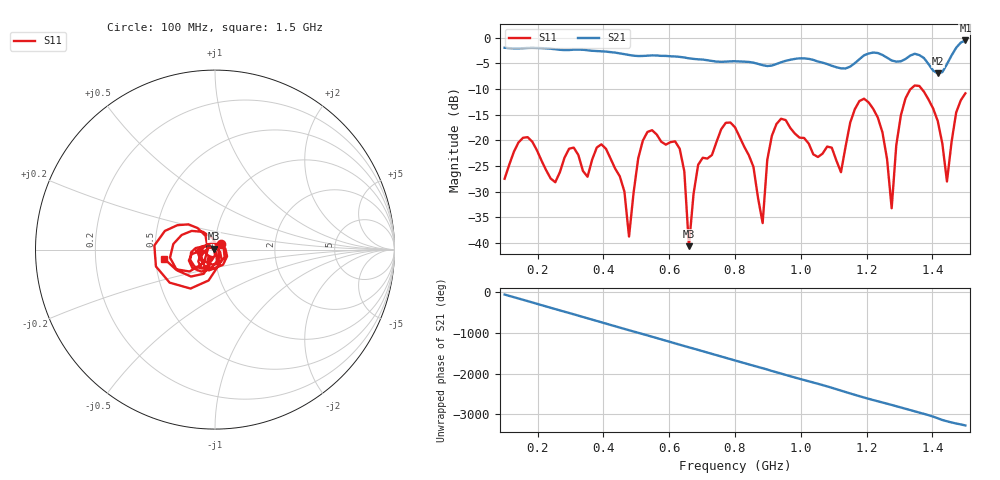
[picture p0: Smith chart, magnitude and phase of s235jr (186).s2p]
! NanoVNA-App
! Date: 2025-09-25 15:05:37
! Start: 100MHz Stop: 1,5GHz Points: 101
! S-Parameter data: F S11 S21 S12 S22
# Hz S RI R 50
!  Frequency  S11_Real  S11_Imag  S21_Real  S21_Imag  S12_Real  S12_Imag  S22_Real  S22_Imag
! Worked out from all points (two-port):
!   101 points, 100 MHz to 1.5 GHz, reference 50 ohm
!   highest |S21| = -0.54 dB at 1.5 GHz (marker M1); lowest = -7.0 dB at 1.416 GHz (marker M2)
!   |S21| within 3 dB of the highest: start of sweep to 498.6 MHz; 1.19 GHz to 1.253 GHz (62.54 MHz wide, 5.12 % of centre) (the widest 2 of 5)
!   lowest |S11| = -40.6 dB at 660 MHz (marker M3), VSWR 1.02, Z = 49.3 + j0.545 ohm
!   |S11| at or under -10 dB: start of sweep to 1.334 GHz; 1.368 GHz to end of sweep
!   S12 and S22 are empty: the file has one direction only
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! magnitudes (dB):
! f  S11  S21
! 100 MHz  -27.5  -2.0
! 170 MHz  -19.4  -2.0
! 338 MHz  -26.0  -2.4
! 408 MHz  -21.6  -2.7
! 478 MHz  -38.7  -3.4
! 520 MHz  -20.0  -3.6
! 576 MHz  -20.3  -3.5
! 632 MHz  -21.6  -3.7
! 660 MHz  -40.6  -4.0
! 688 MHz  -24.8  -4.2
! 800 MHz  -17.4  -4.6
! 884 MHz  -36.1  -5.4
! 926 MHz  -16.8  -5.1
! 1.038 GHz  -22.7  -4.3
! 1.122 GHz  -26.2  -6.0
! 1.192 GHz  -11.9  -3.4
! 1.248 GHz  -18.4  -3.4
! 1.276 GHz  -33.2  -4.4
! 1.332 GHz  -10.1  -3.5
! 1.416 GHz  -16.2  -7.0
! 1.444 GHz  -28.0  -5.2
! 1.5 GHz  -10.8  -0.5
